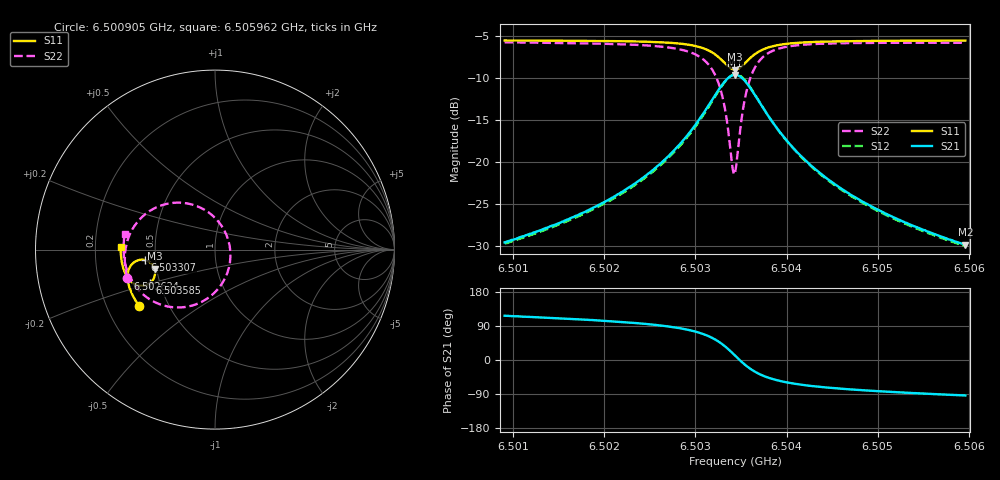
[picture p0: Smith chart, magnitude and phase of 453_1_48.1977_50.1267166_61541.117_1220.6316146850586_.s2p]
#  HZ  S  RI  R  50.00
! Rohde & Schwarz Vector Network Analyzer
! Rohde-Schwarz,ZNB20-2Port,1311601062101988,3.16
! Created: UTC 3/20/2024, 11:56:19 AM
! freq[Hz]  re:S11  im:S11  re:S21  im:S21  re:S12  im:S12  re:S22  im:S22
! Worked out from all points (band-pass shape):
!   401 points, 6.500905 GHz to 6.505962 GHz, reference 50 ohm
!   highest |S21| = -9.65 dB at 6.503434 GHz (marker M1); lowest = -29.8 dB at 6.505962 GHz (marker M2)
!   |S21| within 3 dB of the highest: 6.503181 GHz to 6.503687 GHz (505.7 kHz wide, 0.00778 % of centre)
!   lowest |S11| = -9.0 dB at 6.503434 GHz (marker M3), VSWR 2.09, Z = 24.3 - j5.95 ohm
!   |S11| at or under -10 dB: nowhere
!   |S22| runs from -21.5 to -5.8 dB; largest |S21 - S12| = 0.011
!   S11 on the Smith chart (normalised r, x): 6.500905 GHz: 0.34, -0.29; 6.502624 GHz: 0.33, -0.15; 6.503307 GHz: 0.44, -0.06; 6.503585 GHz: 0.44, -0.20; 6.505962 GHz: 0.31, +0.01
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6.5009048e9  -0.4245 -0.312  -0.015 0.0297  -0.0133 0.0298  -0.488 -0.1593
6.501752e9  -0.4611 -0.2497  -0.0143 0.0475  -0.012 0.047  -0.5022 -0.0699
6.5021818e9  -0.4765 -0.2119  -0.0118 0.0648  -0.00893 0.0638  -0.5002 -0.0102
6.5025991e9  -0.4868 -0.1666  -0.00263 0.0961  0.00102 0.0939  -0.4803 0.071
6.5026244e9  -0.4872 -0.1634  -0.00141 0.0989  0.00223 0.0964  -0.4779 0.0774
6.5029152e9  -0.4832 -0.1188  0.0256 0.1425  0.0294 0.1382  -0.4216 0.1663
6.5031048e9  -0.4623 -0.0806  0.0795 0.1845  0.0821 0.1785  -0.3187 0.2389
6.5032186e9  -0.4297 -0.0599  0.1484 0.2021  0.1493 0.1961  -0.1948 0.2615
6.5033071e9  -0.3895 -0.0582  0.2277 0.1864  0.2282 0.1813  -0.0581 0.2216
6.5033451e9  -0.3701 -0.0658  0.264 0.1634  0.265 0.1589  0.00204 0.1748
6.5034083e9  -0.3434 -0.0924  0.3118 0.0997  0.3147 0.0947  0.0743 0.0522
6.5034336e9  -0.337 -0.1071  0.3221 0.0673  0.3254 0.0617  0.0853 -0.00782
6.5034589e9  -0.3339 -0.1227  0.3258 0.0337  0.3294 0.0268  0.0835 -0.0692
6.5035221e9  -0.3408 -0.16  0.3077 -0.0444  0.3101 -0.0543  0.0283 -0.2047
6.5035853e9  -0.3622 -0.1861  0.2648 -0.0986  0.2641 -0.1098  -0.0681 -0.2878
6.5036864e9  -0.4017 -0.2015  0.1902 -0.1349  0.1851 -0.1444  -0.2183 -0.3222
6.5038508e9  -0.448 -0.1918  0.1085 -0.1318  0.1016 -0.137  -0.3657 -0.2759
6.5040278e9  -0.4753 -0.1704  0.064 -0.1118  0.0577 -0.1141  -0.4378 -0.211
6.5042807e9  -0.4961 -0.1406  0.034 -0.0876  0.0292 -0.0881  -0.4812 -0.139
6.5046979e9  -0.5128 -0.0974  0.0138 -0.0626  0.0106 -0.0623  -0.5049 -0.0581
6.5051278e9  -0.5211 -0.0578  0.005 -0.0478  0.00283 -0.0472  -0.5101 0.00145
6.5059623e9  -0.526 0.0127  -0.00207 -0.0322  -0.00338 -0.0314  -0.5022 0.0893
